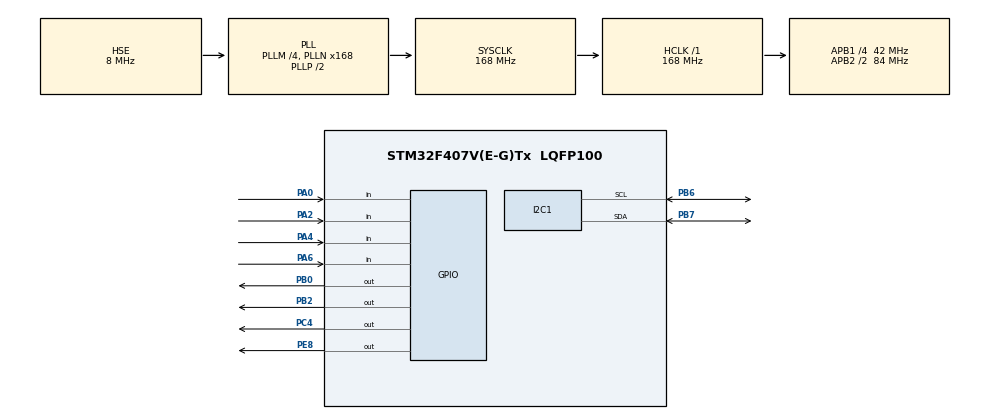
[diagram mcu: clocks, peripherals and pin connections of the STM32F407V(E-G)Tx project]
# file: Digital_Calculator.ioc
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Mcu.Family=STM32F4
Mcu.Name=STM32F407V(E-G)Tx
Mcu.Package=LQFP100
NVIC.PriorityGroup=NVIC_PRIORITYGROUP_4
PA0-WKUP.GPIO_PuPd=GPIO_PULLUP
PA0-WKUP.Signal=GPIO_Input
PA13.Mode=Serial_Wire
PA13.Signal=SYS_JTMS-SWDIO
PA14.Mode=Serial_Wire
PA14.Signal=SYS_JTCK-SWCLK
PA2.GPIO_PuPd=GPIO_PULLUP
PA2.Signal=GPIO_Input
PA4.GPIO_PuPd=GPIO_PULLUP
PA4.Signal=GPIO_Input
PA6.GPIO_PuPd=GPIO_PULLUP
PA6.Signal=GPIO_Input
PB0.GPIO_PuPd=GPIO_PULLUP
PB0.Signal=GPIO_Output
PB2.GPIO_PuPd=GPIO_PULLUP
PB2.Signal=GPIO_Output
PB6.GPIO_Pu=GPIO_PULLUP
PB6.Mode=I2C
PB6.Signal=I2C1_SCL
PB7.GPIO_Pu=GPIO_PULLUP
PB7.GPIO_Speed=GPIO_SPEED_FREQ_VERY_HIGH
PB7.Mode=I2C
PB7.Signal=I2C1_SDA
PC4.GPIO_PuPd=GPIO_PULLUP
PC4.Signal=GPIO_Output
PE8.GPIO_PuPd=GPIO_PULLUP
PE8.Signal=GPIO_Output
PH0-OSC_IN.Mode=HSE-External-Oscillator
PH0-OSC_IN.Signal=RCC_OSC_IN
PH1-OSC_OUT.Mode=HSE-External-Oscillator
PH1-OSC_OUT.Signal=RCC_OSC_OUT
ProjectManager.HeapSize=0x200
ProjectManager.StackSize=0x400
ProjectManager.TargetToolchain=STM32CubeIDE
RCC.48MHZClocksFreq_Value=84000000
RCC.AHBFreq_Value=168000000
RCC.APB1CLKDivider=RCC_HCLK_DIV4
RCC.APB1Freq_Value=42000000
RCC.APB1TimFreq_Value=84000000
RCC.APB2CLKDivider=RCC_HCLK_DIV2
RCC.APB2Freq_Value=84000000
RCC.APB2TimFreq_Value=168000000
RCC.CortexFreq_Value=168000000
RCC.HCLKFreq_Value=168000000
RCC.HSE_VALUE=8000000
RCC.HSI_VALUE=16000000
RCC.LSE_VALUE=32768
RCC.PLLM=4
RCC.PLLN=168
RCC.PLLSourceVirtual=RCC_PLLSOURCE_HSE
RCC.SYSCLKFreq_VALUE=168000000
RCC.SYSCLKSource=RCC_SYSCLKSOURCE_PLLCLK
RCC.VCOOutputFreq_Value=336000000
board=custom

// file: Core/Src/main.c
/* USER CODE BEGIN Header */
/**
  ******************************************************************************
  * @file           : main.c
  * @brief          : Main program body
  ******************************************************************************
  * @attention
  *
  * <h2><center>&copy; Copyright (c) 2021 STMicroelectronics.
  * All rights reserved.</center></h2>
  *
  * This software component is licensed by ST under BSD 3-Clause license,
  * the "License"; You may not use this file except in compliance with the
  * License. You may obtain a copy of the License at:
  *                        opensource.org/licenses/BSD-3-Clause
  *
  ******************************************************************************
  */
/* USER CODE END Header */
#include "main.h"

/* USER CODE BEGIN Includes */
#include "I2C_LCD.h"
#include "Keypad.h"
#include "Math.h"

/* USER CODE END Includes */

I2C_HandleTypeDef hi2c1;

void SystemClock_Config(void);
static void MX_GPIO_Init(void);
static void MX_I2C1_Init(void);

/* USER CODE BEGIN 0 */
char keypadValue = 0;

/* USER CODE END 0 */

int main(void)
{

  /* MCU Configuration--------------------------------------------------------*/

  /* Reset of all peripherals, Initializes the Flash interface and the Systick. */
  HAL_Init();

  /* Configure the system clock */
  SystemClock_Config();

  /* Initialize all configured peripherals */
  MX_GPIO_Init();
  MX_I2C1_Init();
  /* USER CODE BEGIN 2 */
  LCD_Init ();
  Keypad_Init();

  LCD_Send_String ("Hello World");
  HAL_Delay(1000);

  /* USER CODE END 2 */

  /* Infinite loop */
  /* USER CODE BEGIN WHILE */
  while (1)
  {
    LCD_Send_Cmd(0x01);
    HAL_Delay(50);
    LCD_Send_String("1Basic 2Advance");

    LCD_Send_Cmd(0xC0);
    LCD_Send_String("3.Trigonometric");

    keypadValue = Keypad_ReadKey();
    switch(keypadValue)
    {
      case '1':
        BasicCalculator();
        Keypad_ReadKey();
        break;
      case '2':
    	AdvanceCalculator();
    	Keypad_ReadKey();
    	break;
      case '3':
        TrigonometricCalculator();
        Keypad_ReadKey();
    	break;
    }
    /* USER CODE END WHILE */

  }
}

void SystemClock_Config(void)
{
  RCC_OscInitTypeDef RCC_OscInitStruct = {0};
  RCC_ClkInitTypeDef RCC_ClkInitStruct = {0};

  /** Configure the main internal regulator output voltage
  */
  __HAL_RCC_PWR_CLK_ENABLE();
  __HAL_PWR_VOLTAGESCALING_CONFIG(PWR_REGULATOR_VOLTAGE_SCALE1);
  /** Initializes the RCC Oscillators according to the specified parameters
  * in the RCC_OscInitTypeDef structure.
  */
  RCC_OscInitStruct.OscillatorType = RCC_OSCILLATORTYPE_HSE;
  RCC_OscInitStruct.HSEState = RCC_HSE_ON;
  RCC_OscInitStruct.PLL.PLLState = RCC_PLL_ON;
  RCC_OscInitStruct.PLL.PLLSource = RCC_PLLSOURCE_HSE;
  RCC_OscInitStruct.PLL.PLLM = 4;
  RCC_OscInitStruct.PLL.PLLN = 168;
  RCC_OscInitStruct.PLL.PLLP = RCC_PLLP_DIV2;
  RCC_OscInitStruct.PLL.PLLQ = 4;
  if (HAL_RCC_OscConfig(&RCC_OscInitStruct) != HAL_OK)
  {
    Error_Handler();
  }
  /** Initializes the CPU, AHB and APB buses clocks
  */
  RCC_ClkInitStruct.ClockType = RCC_CLOCKTYPE_HCLK|RCC_CLOCKTYPE_SYSCLK
                              |RCC_CLOCKTYPE_PCLK1|RCC_CLOCKTYPE_PCLK2;
  RCC_ClkInitStruct.SYSCLKSource = RCC_SYSCLKSOURCE_PLLCLK;
  RCC_ClkInitStruct.AHBCLKDivider = RCC_SYSCLK_DIV1;
  RCC_ClkInitStruct.APB1CLKDivider = RCC_HCLK_DIV4;
  RCC_ClkInitStruct.APB2CLKDivider = RCC_HCLK_DIV2;

  if (HAL_RCC_ClockConfig(&RCC_ClkInitStruct, FLASH_LATENCY_5) != HAL_OK)
  {
    Error_Handler();
  }
}

static void MX_I2C1_Init(void)
{

  hi2c1.Instance = I2C1;
  hi2c1.Init.ClockSpeed = 100000;
  hi2c1.Init.DutyCycle = I2C_DUTYCYCLE_2;
  hi2c1.Init.OwnAddress1 = 0;
  hi2c1.Init.AddressingMode = I2C_ADDRESSINGMODE_7BIT;
  hi2c1.Init.DualAddressMode = I2C_DUALADDRESS_DISABLE;
  hi2c1.Init.OwnAddress2 = 0;
  hi2c1.Init.GeneralCallMode = I2C_GENERALCALL_DISABLE;
  hi2c1.Init.NoStretchMode = I2C_NOSTRETCH_DISABLE;
  if (HAL_I2C_Init(&hi2c1) != HAL_OK)
  {
    Error_Handler();
  }

}

static void MX_GPIO_Init(void)
{
  GPIO_InitTypeDef GPIO_InitStruct = {0};

  /* GPIO Ports Clock Enable */
  __HAL_RCC_GPIOH_CLK_ENABLE();
  __HAL_RCC_GPIOA_CLK_ENABLE();
  __HAL_RCC_GPIOC_CLK_ENABLE();
  __HAL_RCC_GPIOB_CLK_ENABLE();
  __HAL_RCC_GPIOE_CLK_ENABLE();

  /*Configure GPIO pin Output Level */
  HAL_GPIO_WritePin(GPIOC, GPIO_PIN_4, GPIO_PIN_RESET);

  /*Configure GPIO pin Output Level */
  HAL_GPIO_WritePin(GPIOB, GPIO_PIN_0|GPIO_PIN_2, GPIO_PIN_RESET);

  /*Configure GPIO pin Output Level */
  HAL_GPIO_WritePin(GPIOE, GPIO_PIN_8, GPIO_PIN_RESET);

  /*Configure GPIO pins : PA0 PA2 PA4 PA6 */
  GPIO_InitStruct.Pin = GPIO_PIN_0|GPIO_PIN_2|GPIO_PIN_4|GPIO_PIN_6;
  GPIO_InitStruct.Mode = GPIO_MODE_INPUT;
  GPIO_InitStruct.Pull = GPIO_PULLUP;
  HAL_GPIO_Init(GPIOA, &GPIO_InitStruct);

  /*Configure GPIO pin : PC4 */
  GPIO_InitStruct.Pin = GPIO_PIN_4;
  GPIO_InitStruct.Mode = GPIO_MODE_OUTPUT_PP;
  GPIO_InitStruct.Pull = GPIO_PULLUP;
  GPIO_InitStruct.Speed = GPIO_SPEED_FREQ_LOW;
  HAL_GPIO_Init(GPIOC, &GPIO_InitStruct);

  /*Configure GPIO pins : PB0 PB2 */
  GPIO_InitStruct.Pin = GPIO_PIN_0|GPIO_PIN_2;
  GPIO_InitStruct.Mode = GPIO_MODE_OUTPUT_PP;
  GPIO_InitStruct.Pull = GPIO_PULLUP;
  GPIO_InitStruct.Speed = GPIO_SPEED_FREQ_LOW;
  HAL_GPIO_Init(GPIOB, &GPIO_InitStruct);

  /*Configure GPIO pin : PE8 */
  GPIO_InitStruct.Pin = GPIO_PIN_8;
  GPIO_InitStruct.Mode = GPIO_MODE_OUTPUT_PP;
  GPIO_InitStruct.Pull = GPIO_PULLUP;
  GPIO_InitStruct.Speed = GPIO_SPEED_FREQ_LOW;
  HAL_GPIO_Init(GPIOE, &GPIO_InitStruct);

}

void Error_Handler(void)
{
  __disable_irq();
  while (1)
  {
  }
}

/************************ (C) COPYRIGHT STMicroelectronics *****END OF FILE****/
